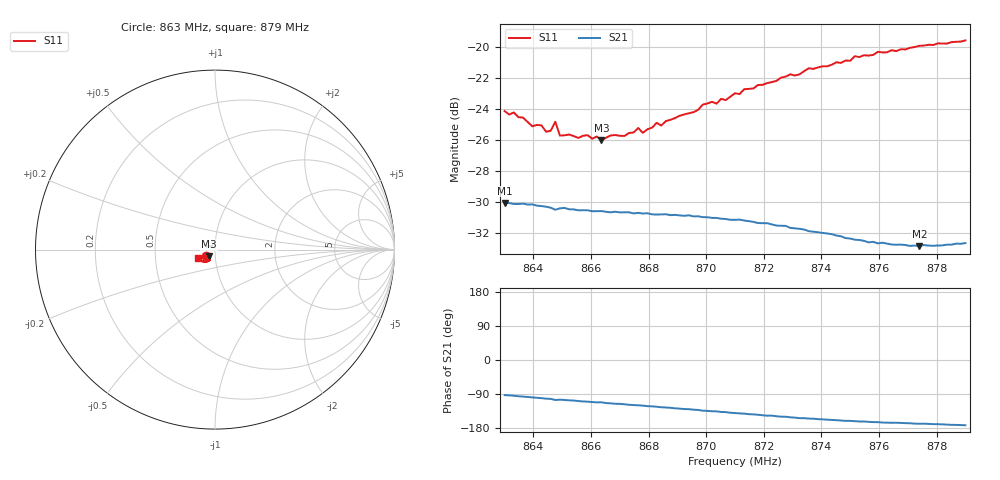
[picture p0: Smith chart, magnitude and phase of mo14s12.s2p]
# HZ S RI R 50
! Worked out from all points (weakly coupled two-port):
!   101 points, 863 MHz to 879 MHz, reference 50 ohm
!   highest |S21| = -30.07 dB at 863 MHz (marker M1); lowest = -32.9 dB at 877.4 MHz (marker M2)
!   lowest |S11| = -26.0 dB at 866.36 MHz (marker M3), VSWR 1.11, Z = 46.6 - j3.48 ohm
!   |S11| at or under -10 dB: start of sweep to end of sweep
!   S12 and S22 are empty: the file has one direction only
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8.63e8  -0.0497 -0.0374  -0.00145 -0.0313  0 0  0 0
8.6332e8  -0.0488 -0.0375  -0.00231 -0.031  0 0  0 0
8.6396e8  -0.0428 -0.0354  -0.0047 -0.0307  0 0  0 0
8.6428e8  -0.0412 -0.0378  -0.00569 -0.0301  0 0  0 0
8.6444e8  -0.039 -0.0364  -0.00633 -0.0298  0 0  0 0
8.646e8  -0.0395 -0.0363  -0.00662 -0.0296  0 0  0 0
8.6476e8  -0.0422 -0.0389  -0.00798 -0.0287  0 0  0 0
8.6492e8  -0.0372 -0.0361  -0.0077 -0.0291  0 0  0 0
8.6572e8  -0.0337 -0.0392  -0.00986 -0.028  0 0  0 0
8.6636e8  -0.0335 -0.0372  -0.0109 -0.0275  0 0  0 0
8.6668e8  -0.0305 -0.0418  -0.0121 -0.0267  0 0  0 0
8.6716e8  -0.0281 -0.0433  -0.0132 -0.0261  0 0  0 0
8.6764e8  -0.0295 -0.0462  -0.0143 -0.0254  0 0  0 0
8.678e8  -0.0274 -0.0452  -0.0147 -0.025  0 0  0 0
8.6828e8  -0.0275 -0.0499  -0.0158 -0.024  0 0  0 0
8.6844e8  -0.0272 -0.0487  -0.0164 -0.0237  0 0  0 0
8.71e8  -0.0339 -0.0624  -0.0212 -0.0178  0 0  0 0
8.7372e8  -0.0507 -0.0684  -0.0229 -0.0108  0 0  0 0
8.7516e8  -0.0649 -0.0673  -0.0226 -0.00761  0 0  0 0
8.7644e8  -0.0752 -0.0625  -0.0223 -0.0057  0 0  0 0
8.774e8  -0.0831 -0.0575  -0.0223 -0.00463  0 0  0 0
8.79e8  -0.0948 -0.0454  -0.0231 -0.00315  0 0  0 0
